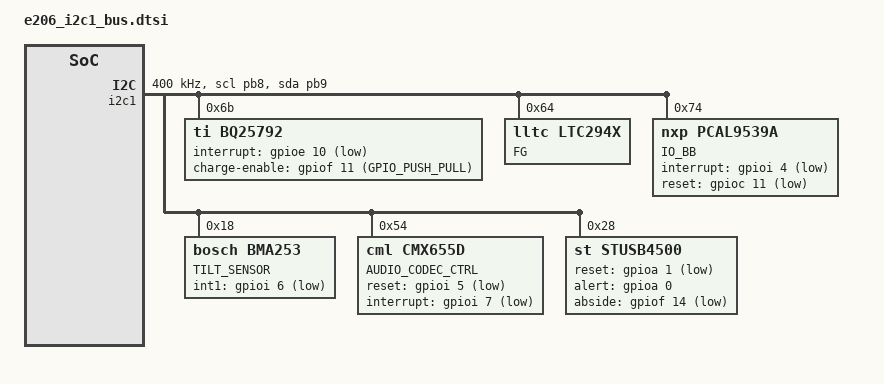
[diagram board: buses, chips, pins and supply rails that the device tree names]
/*
 * Copyright (c) 2023 Acme CPU
 *
 * E206 I2C1 bus has
 *		- BQ25792
 *		- LTC2944
 *		- PN5120
 *		- removed xxxx PCAL9539 (main board)
 *		- PCAL9539 (LTE board)
 *		- BMA253
 *		- CMX655D
 *		- STUSB4500
 *		- STSPIN32F0A (not used)
 */

 &i2c1 {
	pinctrl-0 = <&i2c1_scl_pb8 &i2c1_sda_pb9>;
	pinctrl-names = "default";
	status = "okay";
	clock-frequency = <I2C_BITRATE_FAST>;
	
	bq25792: bq25792@6b {
    	compatible = "ti,bq25792";
    	reg = <0x6b>;
    	
    	/*status-gpios = <&gpiof 11 (GPIO_PUSH_PULL)>;*/
    	interrupt-gpios = <&gpioe 10 (GPIO_PULL_UP | GPIO_ACTIVE_LOW)>;
    	charge-enable-gpios = <&gpiof 11 (GPIO_PUSH_PULL)>;
    	
        watchdog-timer = <0>;						/* disable watchdog timer */
        input-voltage-limit-microvolt = <22000000>;	/* 22 V */
        input-current-limit-microamp = <3300000>;	/* 3.3 Amp */
	};

  	fuelgauge: ltc2944@64 {
		compatible = "lltc,ltc294x";
		reg = <0x64>;
		resistor-sense = <10>;
		prescaler-exponent = <6>; 	/* for Qbat=1500 mAh, Rsense=10 mOhm [(4096 * 1500 * 10)/(2^16 * 0.340 * 50)] */
		device-id = <4>;			/* LTC2941 = 1, LTC2942 = 2, LTC2943 = 3, LTC2944 = 4 */
		/*interrupt-gpios = <&gpioc 8 (GPIO_PULL_UP | GPIO_ACTIVE_LOW)>;*/
		label = "FG";
	};

/*
  	nfc: pn5120@2f {
		compatible = "nxp,pn5120";
		reg = <0x2f>;
		interrupt-gpios = <&gpiog 5 (GPIO_PULL_UP | GPIO_ACTIVE_LOW)>;
		reset-gpios = <&gpioh 7 (GPIO_PUSH_PULL)>;
		ea-gpios = <&gpiog 8 (GPIO_PUSH_PULL)>;
  	};
*/
/*
	io_mb: pcal9539@76 {
		compatible = "nxp,pcal9539a";
		reg = <0x76>;
		gpio-controller;
		has-pud;
		interrupt-gpios = <&gpiod 0 (GPIO_PULL_UP | GPIO_ACTIVE_LOW)>;
		reset-gpios = <&gpioc 11 (GPIO_PULL_UP | GPIO_ACTIVE_LOW)>;
		#gpio-cells = <2>;
		ngpios = <16>;
		label = "IO_MB";
	};
*/
	io_bb: pcal9539@74 {
		compatible = "nxp,pcal9539a";
		reg = <0x74>;
		gpio-controller;
		has-pud;
		interrupt-gpios = <&gpioi 4 (GPIO_PULL_UP | GPIO_ACTIVE_LOW)>;
		reset-gpios = <&gpioc 11 (GPIO_PULL_UP | GPIO_ACTIVE_LOW)>; /* common reset pin for 2 io expanders */
		#gpio-cells = <2>;
		ngpios = <16>;
		label = "IO_BB";
	};

	bma253@18 {
		compatible = "bosch,bma253";
		reg = <0x18>;
		label = "TILT_SENSOR";
		int1-gpios = <&gpioi 6 (GPIO_PULL_UP | GPIO_ACTIVE_LOW)>;
	};

	audio_codec_ctrl: cmx655d@54 {
		compatible = "cml,cmx655d";
    	reg = <0x54>;
    	label = "AUDIO_CODEC_CTRL";
    	classd-oc-reset-attempts = <5>;
    	reset-gpios = <&gpioi 5 (GPIO_ACTIVE_LOW)>;
    	interrupt-gpios = <&gpioi 7 (GPIO_PULL_UP | GPIO_ACTIVE_LOW)>;
	};
	
  	stusb4500: stusb4500@28 {
		compatible = "st,stusb4500";
		reg = <0x28>;
    	reset-gpios = <&gpioa 1 (GPIO_ACTIVE_LOW)>;
    	alert-gpios = <&gpioa 0 (GPIO_PULL_UP)>;
    	abside-gpios = <&gpiof 14 (GPIO_PULL_UP | GPIO_ACTIVE_LOW)>;
  	};

/*	
	bldc_driver: stspin32f0a@10 {
		compatible = "st,stspin32f0a";
		reg = <0x10>
		label = "BLDC_DRIVER"
	}
*/

};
